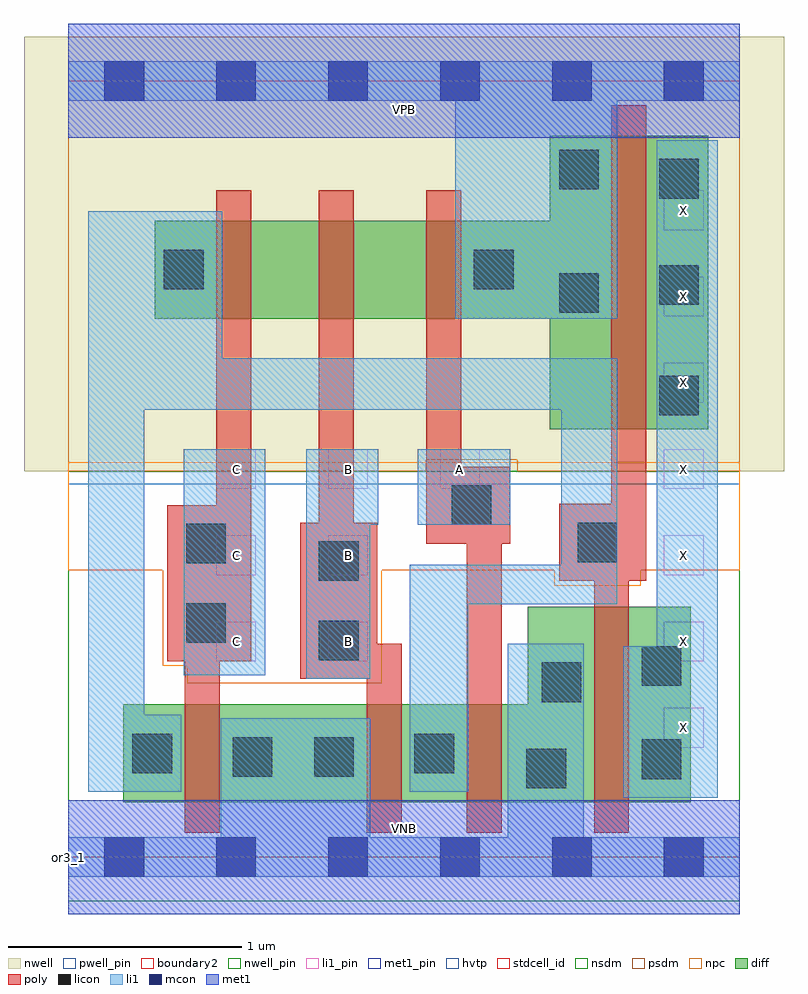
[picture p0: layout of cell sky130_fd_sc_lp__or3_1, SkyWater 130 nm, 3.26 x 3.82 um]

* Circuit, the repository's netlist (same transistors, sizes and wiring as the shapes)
* Copyright 2020 The SkyWater PDK Authors
*
* Licensed under the Apache License, Version 2.0 (the "License");
* you may not use this file except in compliance with the License.
* You may obtain a copy of the License at
*
*     https://www.apache.org/licenses/LICENSE-2.0
*
* Unless required by applicable law or agreed to in writing, software
* distributed under the License is distributed on an "AS IS" BASIS,
* WITHOUT WARRANTIES OR CONDITIONS OF ANY KIND, either express or implied.
* See the License for the specific language governing permissions and
* limitations under the License.
*
* SPDX-License-Identifier: Apache-2.0

.SUBCKT sky130_fd_sc_lp__or3_1 A B C VGND VNB VPB VPWR X
*.PININFO A:I B:I C:I VGND:I VNB:I VPB:I VPWR:I X:O
MMP0 VPWR A sndPA VPB sky130_fd_pr__pfet_01v8_hvt m=1 w=0.42U l=0.15U mult=1 sa=0.265
+ sb=0.265 sd=0.28 area=0.063 perim=1.14
MMP1 sndPA B sndPB VPB sky130_fd_pr__pfet_01v8_hvt m=1 w=0.42U l=0.15U mult=1 sa=0.265
+ sb=0.265 sd=0.28 area=0.063 perim=1.14
MMP2 sndPB C y VPB sky130_fd_pr__pfet_01v8_hvt m=1 w=0.42U l=0.15U mult=1 sa=0.265
+ sb=0.265 sd=0.28 area=0.063 perim=1.14
MMIP3 X y VPWR VPB sky130_fd_pr__pfet_01v8_hvt m=1 w=1.26U l=0.15U mult=1 sa=0.265
+ sb=0.265 sd=0.28 area=0.063 perim=1.14
MMN0 y A VGND VNB sky130_fd_pr__nfet_01v8 m=1 w=0.42U l=0.15U mult=1 sa=0.265 sb=0.265
+ sd=0.28 area=0.063 perim=1.14
MMN1 y B VGND VNB sky130_fd_pr__nfet_01v8 m=1 w=0.42U l=0.15U mult=1 sa=0.265 sb=0.265
+ sd=0.28 area=0.063 perim=1.14
MMN2 y C VGND VNB sky130_fd_pr__nfet_01v8 m=1 w=0.42U l=0.15U mult=1 sa=0.265 sb=0.265
+ sd=0.28 area=0.063 perim=1.14
MMIN3 X y VGND VNB sky130_fd_pr__nfet_01v8 m=1 w=0.84U l=0.15U mult=1 sa=0.265
+ sb=0.265 sd=0.28 area=0.063 perim=1.14
.ENDS sky130_fd_sc_lp__or3_1

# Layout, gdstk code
import gdstk
lib = gdstk.Library(unit=1e-6, precision=1e-09)
def R(c, l, rs):  # rectangles x0, y0, x1, y1
    for r in rs: c.add(gdstk.rectangle(r[:2], r[2:], *l))
def A(c, l, x, y, w, h, nx, ny, dx, dy):  # array of equal rectangles
    R(c, l, [(x+i*dx, y+j*dy, x+i*dx+w, y+j*dy+h) for i in range(nx) for j in range(ny)])
def P(c, l, *ps):  # polygons
    for p in ps: c.add(gdstk.Polygon(p, *l))
nwell_pin = (64, 16)
nwell = (64, 20)
diff = (65, 20)
poly = (66, 20)
licon = (66, 44)
li1_pin = (67, 16)
li1 = (67, 20)
mcon = (67, 44)
met1_pin = (68, 16)
met1 = (68, 20)
hvtp = (78, 44)
stdcell_id = (81, 4)
nsdm = (93, 44)
psdm = (94, 20)
npc = (95, 20)
pwell_pin = (122, 16)
boundary2 = (236, 0)

sky130_fd_sc_lp__or3_1 = lib.new_cell('sky130_fd_sc_lp__or3_1')
R(sky130_fd_sc_lp__or3_1, nwell_pin, [(0,3.085,2.88,3.33)])
R(sky130_fd_sc_lp__or3_1, nwell, [(-0.19,1.655,3.07,3.52)])
P(sky130_fd_sc_lp__or3_1, diff, [(2.67,1.075),(1.97,1.075),(1.97,0.655),(0.235,0.655),(0.235,0.235),(2.67,0.235)],
  [(2.745,3.095),(2.065,3.095),(2.065,2.73),(0.37,2.73),(0.37,2.31),(2.065,2.31),(2.065,1.835),(2.745,1.835)])
P(sky130_fd_sc_lp__or3_1, poly, [(1.895,1.675),(1.685,1.675),(1.685,2.86),(1.535,2.86),(1.535,1.345),(1.71,1.345),(1.71,0.105),(1.86,0.105),(1.86,1.345),(1.895,1.345)],
  [(2.48,3.225),(2.33,3.225),(2.33,1.515),(2.105,1.515),(2.105,1.185),(2.255,1.185),(2.255,0.105),(2.405,0.105),(2.405,1.185),(2.48,1.185)],
  [(1.43,0.915),(1.325,0.915),(1.325,1.435),(1.225,1.435),(1.225,2.86),(1.075,2.86),(1.075,1.435),(0.995,1.435),(0.995,0.765),(1.28,0.765),(1.28,0.105),(1.43,0.105)],
  [(0.785,2.86),(0.635,2.86),(0.635,1.51),(0.425,1.51),(0.425,0.84),(0.5,0.84),(0.5,0.105),(0.65,0.105),(0.65,0.84),(0.785,0.84)])
R(sky130_fd_sc_lp__or3_1, licon, [(1.965,0.295,2.135,0.465), (2.46,0.335,2.63,0.505), (0.705,0.345,0.875,0.515), (1.055,0.345,1.225,0.515), (0.275,0.36,0.445,0.53), (1.485,0.36,1.655,0.53), (2.03,0.665,2.2,0.835), (2.46,0.735,2.63,0.905), (1.075,0.845,1.245,1.015), (0.505,0.92,0.675,1.09), (1.075,1.185,1.245,1.355), (0.505,1.26,0.675,1.43), (2.185,1.265,2.355,1.435), (1.645,1.425,1.815,1.595), (2.535,1.895,2.705,2.065), (2.105,2.335,2.275,2.505), (2.535,2.37,2.705,2.54), (0.41,2.435,0.58,2.605), (1.74,2.435,1.91,2.605), (2.535,2.825,2.705,2.995), (2.105,2.865,2.275,3.035)])
A(sky130_fd_sc_lp__or3_1, li1_pin, 2.555, 0.47, 0.17, 0.17, 1, 7, 0, 0.37)
A(sky130_fd_sc_lp__or3_1, li1_pin, 0.635, 1.58, 0.17, 0.17, 3, 1, 0.48, 0)
R(sky130_fd_sc_lp__or3_1, li1_pin, [(0.635,0.84,0.805,1.01), (1.115,0.84,1.285,1.01), (0.635,1.21,0.805,1.38), (1.115,1.21,1.285,1.38)])
R(sky130_fd_sc_lp__or3_1, li1, [(0.495,0.78,0.845,1.75), (1.5,1.425,1.895,1.75)])
P(sky130_fd_sc_lp__or3_1, li1, [(2.88,3.415),(0,3.415),(0,3.245),(1.66,3.245),(1.66,2.31),(2.355,2.31),(2.355,3.245),(2.88,3.245)],
  [(2.355,2.14),(0.66,2.14),(0.66,2.77),(0.085,2.77),(0.085,0.28),(0.485,0.28),(0.485,0.61),(0.325,0.61),(0.325,1.92),(2.115,1.92),(2.115,1.255),(1.465,1.255),(1.465,0.28),(1.715,0.28),(1.715,1.085),(2.355,1.085)],
  [(2.785,3.075),(2.525,3.075),(2.525,0.905),(2.38,0.905),(2.38,0.255),(2.785,0.255)],
  [(1.33,1.75),(1.02,1.75),(1.02,0.765),(1.295,0.765),(1.295,1.425),(1.33,1.425)],
  [(2.88,0.085),(2.21,0.085),(2.21,0.915),(1.885,0.915),(1.885,0.085),(1.295,0.085),(1.295,0.595),(0.655,0.595),(0.655,0.085),(0,0.085),(0,-0.085),(2.88,-0.085)])
A(sky130_fd_sc_lp__or3_1, mcon, 0.155, -0.085, 0.17, 0.17, 6, 2, 0.48, 3.33)
R(sky130_fd_sc_lp__or3_1, met1_pin, [(0,0,2.88,0.245), (0,3.085,2.88,3.33)])
R(sky130_fd_sc_lp__or3_1, met1, [(0,-0.245,2.88,0.245), (0,3.085,2.88,3.575)])
R(sky130_fd_sc_lp__or3_1, hvtp, [(0,1.6,2.88,3.33)])
R(sky130_fd_sc_lp__or3_1, stdcell_id, [(0,0,2.88,3.33)])
R(sky130_fd_sc_lp__or3_1, nsdm, [(0,-0.19,2.88,1.655)])
P(sky130_fd_sc_lp__or3_1, psdm, [(2.88,3.52),(0,3.52),(0,1.655),(1.535,1.655),(1.535,1.705),(1.925,1.705),(1.925,1.655),(2.88,1.655)])
P(sky130_fd_sc_lp__or3_1, npc, [(2.88,1.695),(0,1.695),(0,1.23),(0.405,1.23),(0.405,0.82),(0.51,0.82),(0.51,0.745),(1.345,0.745),(1.345,1.23),(2.085,1.23),(2.085,1.165),(2.455,1.165),(2.455,1.23),(2.88,1.23)])
R(sky130_fd_sc_lp__or3_1, pwell_pin, [(0,0,2.88,0.245)])
R(sky130_fd_sc_lp__or3_1, boundary2, [(0,0,2.88,3.33)])
sky130_fd_sc_lp__or3_1.add(gdstk.Label('VNB', (1.44,0.123), layer=64, texttype=59))
sky130_fd_sc_lp__or3_1.add(gdstk.Label('VPB', (1.44,3.208), layer=64, texttype=5))
sky130_fd_sc_lp__or3_1.add(gdstk.Label('or3_1', (0,0), layer=83, texttype=44))
sky130_fd_sc_lp__or3_1.add(gdstk.Label('VPWR', (1.44,3.208), layer=68, texttype=5))
sky130_fd_sc_lp__or3_1.add(gdstk.Label('VGND', (1.44,0.123), layer=68, texttype=5))
sky130_fd_sc_lp__or3_1.add(gdstk.Label('C', (0.72,0.925), layer=67, texttype=5))
sky130_fd_sc_lp__or3_1.add(gdstk.Label('C', (0.72,1.295), layer=67, texttype=5))
sky130_fd_sc_lp__or3_1.add(gdstk.Label('C', (0.72,1.665), layer=67, texttype=5))
sky130_fd_sc_lp__or3_1.add(gdstk.Label('X', (2.64,0.555), layer=67, texttype=5))
sky130_fd_sc_lp__or3_1.add(gdstk.Label('X', (2.64,0.925), layer=67, texttype=5))
sky130_fd_sc_lp__or3_1.add(gdstk.Label('X', (2.64,1.295), layer=67, texttype=5))
sky130_fd_sc_lp__or3_1.add(gdstk.Label('X', (2.64,1.665), layer=67, texttype=5))
sky130_fd_sc_lp__or3_1.add(gdstk.Label('X', (2.64,2.035), layer=67, texttype=5))
sky130_fd_sc_lp__or3_1.add(gdstk.Label('X', (2.64,2.405), layer=67, texttype=5))
sky130_fd_sc_lp__or3_1.add(gdstk.Label('X', (2.64,2.775), layer=67, texttype=5))
sky130_fd_sc_lp__or3_1.add(gdstk.Label('A', (1.68,1.665), layer=67, texttype=5))
sky130_fd_sc_lp__or3_1.add(gdstk.Label('B', (1.2,0.925), layer=67, texttype=5))
sky130_fd_sc_lp__or3_1.add(gdstk.Label('B', (1.2,1.295), layer=67, texttype=5))
sky130_fd_sc_lp__or3_1.add(gdstk.Label('B', (1.2,1.665), layer=67, texttype=5))

lib.write_gds('sky130_fd_sc_lp__or3_1.gds')
